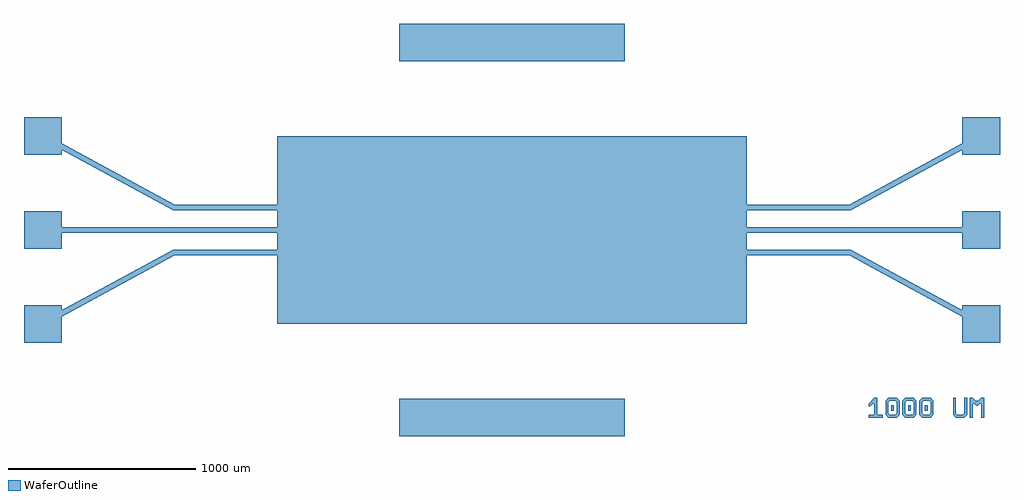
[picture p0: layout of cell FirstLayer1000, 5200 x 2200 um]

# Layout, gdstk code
import gdstk
lib = gdstk.Library(unit=1e-6, precision=1e-09)
def R(c, l, rs):  # rectangles x0, y0, x1, y1
    for r in rs: c.add(gdstk.rectangle(r[:2], r[2:], *l))
def A(c, l, x, y, w, h, nx, ny, dx, dy):  # array of equal rectangles
    R(c, l, [(x+i*dx, y+j*dy, x+i*dx+w, y+j*dy+h) for i in range(nx) for j in range(ny)])
def P(c, l, *ps):  # polygons
    for p in ps: c.add(gdstk.Polygon(p, *l))
WaferOutline = (1, 0)

c_200umsquare = lib.new_cell('200umSquare')
R(c_200umsquare, WaferOutline, [(-100,-100,100,100)])

text = lib.new_cell('TEXT')
A(text, WaferOutline, 0.8, 0.25, 0.1, 0.2, 3, 1, 0.6, 0)
P(text, WaferOutline, [(0,0),(0,0.1),(0.2,0.1),(0.2,0.5),(0.15,0.5),(0.05,0.4),(0,0.4),(0,0.5),(0.2,0.7),(0.3,0.7),(0.3,0.1),(0.5,0.1),(0.5,0)],
  [(0.7,0),(0.6,0.1),(0.6,0.6),(0.7,0.7),(1,0.7),(1.1,0.6),(0.75,0.6),(0.7,0.55),(0.7,0.15),(0.75,0.1),(0.95,0.1),(1,0.15),(1,0.55),(0.95,0.6),(1.1,0.6),(1.1,0.1),(1,0)],
  [(1.3,0),(1.2,0.1),(1.2,0.6),(1.3,0.7),(1.6,0.7),(1.7,0.6),(1.35,0.6),(1.3,0.55),(1.3,0.15),(1.35,0.1),(1.55,0.1),(1.6,0.15),(1.6,0.55),(1.55,0.6),(1.7,0.6),(1.7,0.1),(1.6,0)],
  [(1.9,0),(1.8,0.1),(1.8,0.6),(1.9,0.7),(2.2,0.7),(2.3,0.6),(1.95,0.6),(1.9,0.55),(1.9,0.15),(1.95,0.1),(2.15,0.1),(2.2,0.15),(2.2,0.55),(2.15,0.6),(2.3,0.6),(2.3,0.1),(2.2,0)],
  [(3.1,0),(3,0.1),(3,0.7),(3.1,0.7),(3.1,0.15),(3.15,0.1),(3.35,0.1),(3.4,0.15),(3.4,0.7),(3.5,0.7),(3.5,0.1),(3.4,0)],
  [(3.6,0),(3.6,0.7),(3.7,0.7),(3.8,0.6),(3.9,0.6),(4,0.7),(4.1,0.7),(4.1,0),(4,0),(4,0.5),(3.95,0.5),(3.85,0.4),(3.75,0.5),(3.7,0.5),(3.7,0)])

firstlayer1000 = lib.new_cell('FirstLayer1000')
R(firstlayer1000, WaferOutline, [(-1250,-500,1250,500)])
firstlayer1000.add(gdstk.FlexPath([(-2500,0),(2500,0)], 30, ends="flush", simple_path=True, layer=1, datatype=0))  # WaferOutline
firstlayer1000.add(gdstk.FlexPath([(-2500,500),(-1800,120),(1800,120),(2500,500)], 30, ends="flush", simple_path=True, layer=1, datatype=0))  # WaferOutline
firstlayer1000.add(gdstk.FlexPath([(-2500,-500),(-1800,-120),(1800,-120),(2500,-500)], 30, ends="flush", simple_path=True, layer=1, datatype=0))  # WaferOutline
r = gdstk.Reference(c_200umsquare, (-2500,-500)); r.repetition = gdstk.Repetition(2, 3, v1=(5000,0), v2=(0,500)); firstlayer1000.add(r)
r = gdstk.Reference(c_200umsquare, (-500,-1000)); r.repetition = gdstk.Repetition(6, 2, v1=(200,0), v2=(0,2000)); firstlayer1000.add(r)
firstlayer1000.add(gdstk.Reference(text, (1900,-1000), magnification=150))

lib.write_gds('FirstLayer1000.gds')
